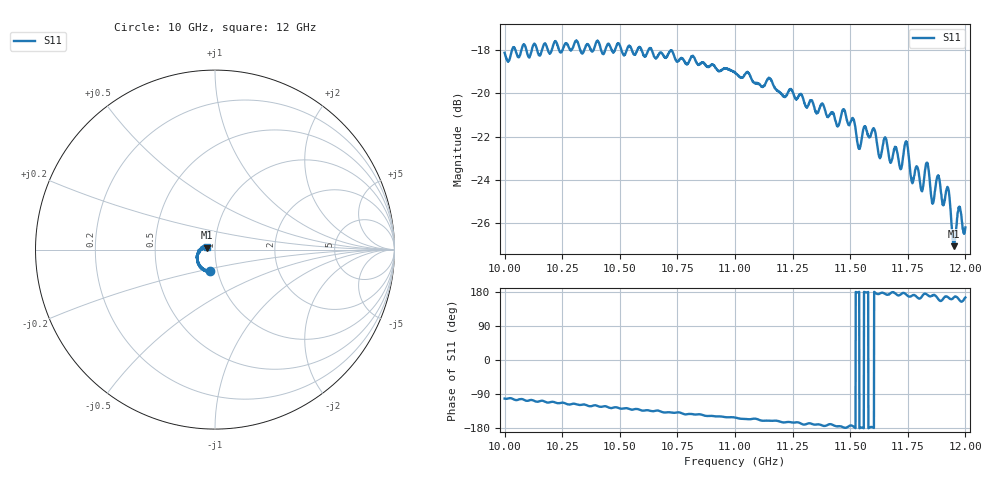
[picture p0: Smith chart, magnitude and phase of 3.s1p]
[Version] 2.0
! Rohde & Schwarz Vector Network Analyzer
! Rohde-Schwarz,ZNL20-2Port,1323001220200009,1.71.1.10-23.02.1.238
! Port Assignments:
! Nominal Port -> Actual Test Port
!  1 -> 1
! Created: GMT 2024-09-04 10:30:34
# Hz S DB R 50
[Number of Ports] 1
! freq[Hz]  S11[mag dB]  S11[ang]
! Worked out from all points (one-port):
!   2001 points, 10 GHz to 12 GHz, reference 50 ohm
!   lowest |S11| = -27.1 dB at 11.95 GHz (marker M1), VSWR 1.09, Z = 45.9 + j1.03 ohm
!   |S11| at or under -10 dB: start of sweep to end of sweep
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[Number of Frequencies] 28
[Network Data]
1e10  -18.11 -101.8
1.025e10  -18.01 -112.6
1.05e10  -17.76 -127.7
1.075e10  -18.52 -138.3
1.1e10  -19.01 -151.7
1.125e10  -19.91 -164.9
1.15e10  -21.37 -172.8
1.1539e10  -22.53 179.9
1.1564e10  -21.55 178.7
1.1604e10  -21.64 179.9
1.1628e10  -22.98 175.3
1.1652e10  -22.07 174.4
1.1674e10  -23.19 175.9
1.1697e10  -22.49 174.7
1.1718e10  -23.44 172.3
1.174e10  -22.25 174.5
1.175e10  -22.51 169.3
1.177e10  -24.17 170.4
1.179e10  -23.39 165.9
1.1812e10  -24.54 168.1
1.1833e10  -23.22 172.9
1.1857e10  -25.10 170.7
1.1881e10  -23.81 161.7
1.1903e10  -25.13 160.8
1.1923e10  -24.38 166.1
1.195e10  -27.08 165.3
1.1973e10  -25.29 159.0
1.2e10  -26.21 164.9
[End]
